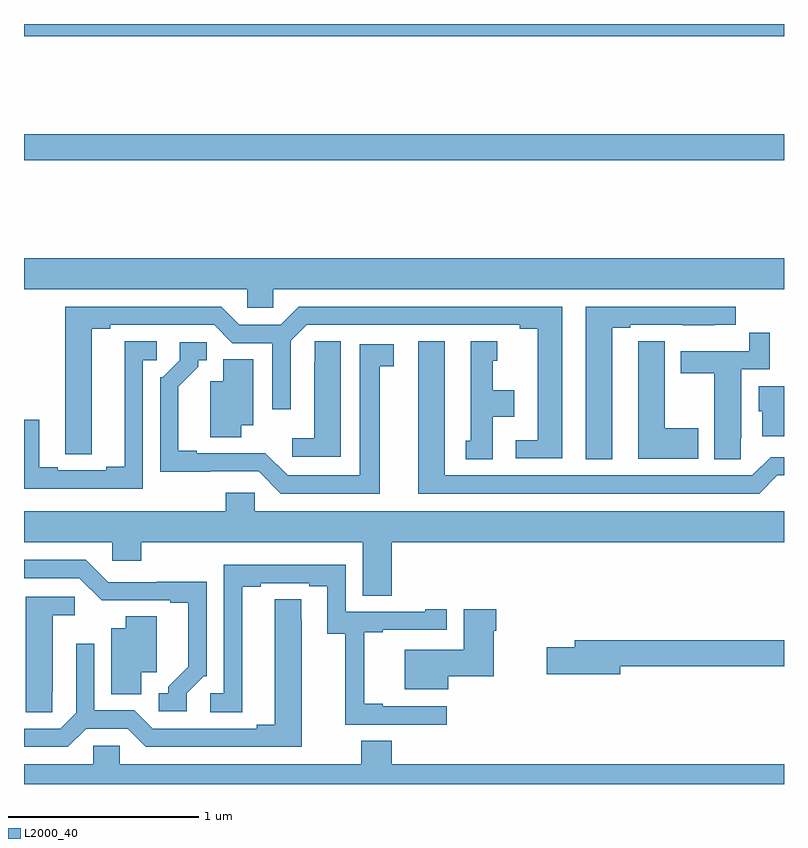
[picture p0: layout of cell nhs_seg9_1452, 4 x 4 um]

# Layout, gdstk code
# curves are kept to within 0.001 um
import gdstk
lib = gdstk.Library(unit=1e-6, precision=1e-09)
def R(c, l, rs):  # rectangles x0, y0, x1, y1
    for r in rs: c.add(gdstk.rectangle(r[:2], r[2:], *l))
def P(c, l, *ps):  # polygons
    for p in ps: c.add(gdstk.Polygon(p, *l))
L2000_40 = (2000, 40)

nhs_seg9_1452 = lib.new_cell('nhs_seg9_1452')
R(nhs_seg9_1452, L2000_40, [(193,1179.784,197,1179.92), (193,1180.436,197,1180.5)])
P(nhs_seg9_1452, L2000_40, [(194.313,1179.104),(197,1179.104),(197,1179.268),(193,1179.268),(193,1179.104),(194.175,1179.104),(194.175,1179.006),(194.313,1179.006)],
  [(195.832,1179.012),(194.447,1179.012),(194.351,1178.916),(194.133,1178.916),(194.037,1179.012),(193.217,1179.012),(193.218,1178.236),(193.357,1178.236),(193.357,1178.896),(193.453,1178.896),(193.453,1178.916),(194.001,1178.916),(194.097,1178.82),(194.307,1178.82),(194.307,1178.472),(194.403,1178.472),(194.403,1178.832),(194.487,1178.916),(195.608,1178.916),(195.608,1178.896),(195.704,1178.896),(195.704,1178.31),(195.588,1178.31),(195.588,1178.214),(195.832,1178.214)],
  [(196.096,1178.901),(196.192,1178.901),(196.192,1178.916),(196.468,1178.916),(196.468,1178.915),(196.634,1178.915),(196.634,1178.916),(196.747,1178.916),(196.747,1179.012),(195.956,1179.012),(195.956,1178.209),(196.096,1178.209)],
  [(196.773,1178.32),(196.774,1178.32),(196.774,1178.682),(196.925,1178.682),(196.925,1178.875),(196.816,1178.875),(196.816,1178.778),(196.457,1178.778),(196.457,1178.662),(196.634,1178.662),(196.634,1178.209),(196.773,1178.209)],
  [(196.549,1178.373),(196.372,1178.373),(196.372,1178.831),(196.233,1178.831),(196.233,1178.723),(196.232,1178.723),(196.232,1178.213),(196.549,1178.213)],
  [(194.668,1178.831),(194.529,1178.831),(194.529,1178.723),(194.528,1178.723),(194.528,1178.32),(194.412,1178.32),(194.412,1178.223),(194.668,1178.223)],
  [(193.626,1178.73),(193.699,1178.73),(193.699,1178.831),(193.529,1178.831),(193.529,1178.171),(193.433,1178.171),(193.433,1178.151),(193.177,1178.151),(193.177,1178.166),(193.081,1178.166),(193.081,1178.417),(193,1178.417),(193,1178.055),(193.626,1178.055)],
  [(195.466,1178.432),(195.58,1178.432),(195.58,1178.572),(195.466,1178.572),(195.466,1178.727),(195.49,1178.727),(195.49,1178.83),(195.35,1178.83),(195.35,1178.307),(195.326,1178.307),(195.326,1178.209),(195.466,1178.209)],
  [(196.965,1178.124),(197,1178.124),(197,1178.22),(196.929,1178.22),(196.833,1178.124),(195.214,1178.124),(195.214,1178.83),(195.074,1178.83),(195.074,1178.028),(196.869,1178.028)],
  [(194.872,1178.698),(194.947,1178.698),(194.947,1178.814),(194.768,1178.814),(194.768,1178.124),(194.388,1178.124),(194.27,1178.242),(193.909,1178.241),(193.909,1178.254),(193.813,1178.254),(193.813,1178.59),(193.918,1178.695),(193.918,1178.73),(193.963,1178.73),(193.963,1178.826),(193.821,1178.826),(193.821,1178.73),(193.731,1178.64),(193.716,1178.64),(193.716,1178.144),(194.235,1178.145),(194.352,1178.028),(194.872,1178.028)],
  [(194.143,1178.387),(194.206,1178.387),(194.206,1178.735),(194.048,1178.735),(194.048,1178.62),(193.979,1178.62),(193.979,1178.326),(194.143,1178.326)],
  [(197,1178.593),(196.868,1178.593),(196.868,1178.463),(196.886,1178.463),(196.886,1178.33),(197,1178.33)],
  [(194.936,1177.772),(197,1177.772),(197,1177.936),(194.214,1177.936),(194.214,1178.034),(194.063,1178.034),(194.063,1177.936),(193,1177.936),(193,1177.772),(193.464,1177.772),(193.464,1177.674),(193.616,1177.674),(193.616,1177.772),(194.783,1177.772),(194.783,1177.492),(194.936,1177.492)],
  [(193.857,1176.978),(193.947,1177.068),(193.962,1177.068),(193.962,1177.565),(193.699,1177.565),(193.699,1177.563),(193.443,1177.563),(193.326,1177.68),(193,1177.68),(193,1177.584),(193.29,1177.584),(193.408,1177.466),(193.769,1177.467),(193.769,1177.455),(193.865,1177.455),(193.865,1177.118),(193.76,1177.013),(193.76,1176.978),(193.71,1176.978),(193.71,1176.882),(193.857,1176.882)],
  [(195.226,1176.909),(194.887,1176.909),(194.887,1176.922),(194.792,1176.922),(194.792,1177.299),(194.887,1177.299),(194.887,1177.311),(195.226,1177.311),(195.226,1177.42),(195.113,1177.42),(195.113,1177.407),(194.694,1177.407),(194.694,1177.653),(194.052,1177.653),(194.052,1176.978),(193.98,1176.978),(193.98,1176.877),(194.149,1176.877),(194.149,1177.537),(194.245,1177.537),(194.245,1177.557),(194.501,1177.557),(194.501,1177.542),(194.597,1177.542),(194.597,1177.291),(194.692,1177.291),(194.692,1176.813),(195.226,1176.813)],
  [(193.149,1176.985),(193.15,1176.985),(193.15,1177.388),(193.267,1177.388),(193.267,1177.485),(193.01,1177.485),(193.01,1176.877),(193.149,1176.877)],
  [(193.327,1176.792),(193.545,1176.792),(193.641,1176.696),(194.461,1176.696),(194.46,1177.472),(194.321,1177.472),(194.321,1176.812),(194.225,1176.812),(194.225,1176.792),(193.677,1176.792),(193.581,1176.888),(193.371,1176.888),(193.371,1177.237),(193.275,1177.237),(193.275,1176.876),(193.191,1176.792),(193,1176.792),(193,1176.696),(193.231,1176.696)],
  [(195.232,1177.067),(195.472,1177.067),(195.472,1177.307),(195.485,1177.307),(195.485,1177.42),(195.314,1177.42),(195.314,1177.207),(195.005,1177.207),(195.005,1176.998),(195.232,1176.998)],
  [(193.618,1177.088),(193.699,1177.088),(193.699,1177.382),(193.535,1177.382),(193.535,1177.321),(193.46,1177.321),(193.46,1176.973),(193.618,1176.973)],
  [(196.138,1177.12),(197,1177.12),(197,1177.256),(195.899,1177.256),(195.899,1177.22),(195.75,1177.22),(195.75,1177.078),(196.138,1177.078)],
  [(197,1176.604),(194.936,1176.604),(194.936,1176.728),(194.776,1176.728),(194.776,1176.604),(193.503,1176.604),(193.503,1176.702),(193.365,1176.702),(193.365,1176.604),(193,1176.604),(193,1176.5),(197,1176.5)])

lib.write_gds('nhs_seg9_1452.gds')
